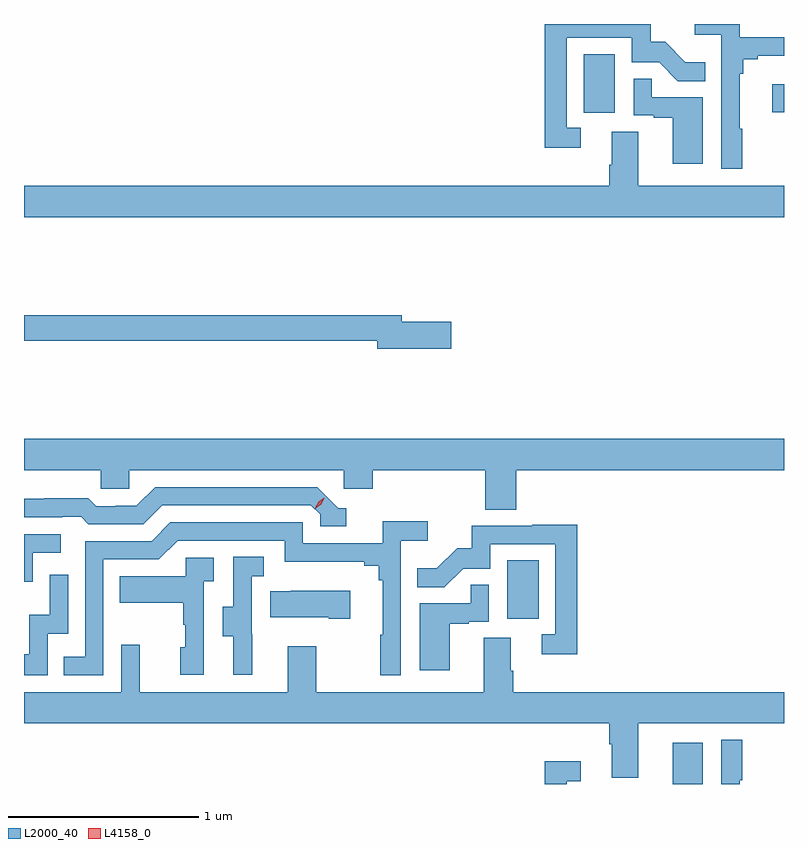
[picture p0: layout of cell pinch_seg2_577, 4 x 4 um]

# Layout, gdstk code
import gdstk
lib = gdstk.Library(unit=1e-6, precision=1e-09)
def R(c, l, rs):  # rectangles x0, y0, x1, y1
    for r in rs: c.add(gdstk.rectangle(r[:2], r[2:], *l))
def P(c, l, *ps):  # polygons
    for p in ps: c.add(gdstk.Polygon(p, *l))
L2000_40 = (2000, 40)
L4158_0 = (4158, 0)

pinch_seg2_577 = lib.new_cell('pinch_seg2_577')
R(pinch_seg2_577, L2000_40, [(1080.428,611.352,1080.586,611.569), (1079.558,612.222,1079.722,612.529), (1079.96,614.886,1080.124,615.193), (1080.951,614.887,1081.014,615.034)])
P(pinch_seg2_577, L2000_40, [(1079.944,614.805),(1079.871,614.805),(1079.871,615.279),(1080.213,615.279),(1080.213,615.15),(1080.357,615.15),(1080.455,615.052),(1080.599,615.052),(1080.599,615.151),(1080.495,615.151),(1080.388,615.258),(1080.312,615.258),(1080.312,615.352),(1079.755,615.352),(1079.755,614.7),(1079.944,614.7)],
  [(1080.793,614.801),(1080.781,614.801),(1080.781,615.089),(1080.8,615.089),(1080.8,615.166),(1080.877,615.166),(1080.877,615.185),(1081.014,615.185),(1081.014,615.282),(1080.782,615.282),(1080.782,615.352),(1080.543,615.352),(1080.543,615.296),(1080.684,615.296),(1080.684,614.589),(1080.793,614.589)],
  [(1080.586,614.967),(1080.317,614.967),(1080.317,615.065),(1080.222,615.065),(1080.222,614.871),(1080.329,614.871),(1080.329,614.859),(1080.428,614.859),(1080.428,614.616),(1080.586,614.616)],
  [(1081.014,614.5),(1080.247,614.5),(1080.247,614.786),(1080.107,614.786),(1080.107,614.612),(1080.095,614.612),(1080.095,614.5),(1077.014,614.5),(1077.014,614.336),(1081.014,614.336)],
  [(1079.263,613.784),(1079.002,613.784),(1079.002,613.82),(1077.014,613.82),(1077.014,613.684),(1078.874,613.684),(1078.874,613.642),(1079.263,613.642)],
  [(1079.606,613.004),(1081.014,613.004),(1081.014,613.168),(1077.014,613.168),(1077.014,613.004),(1077.417,613.004),(1077.417,612.906),(1077.567,612.906),(1077.567,613.004),(1078.698,613.004),(1078.698,612.906),(1078.85,612.906),(1078.85,613.004),(1079.441,613.004),(1079.441,612.796),(1079.606,612.796)],
  [(1078.711,612.804),(1078.668,612.804),(1078.557,612.915),(1077.704,612.915),(1077.605,612.816),(1077.498,612.816),(1077.498,612.813),(1077.395,612.813),(1077.353,612.856),(1077.12,612.856),(1077.12,612.853),(1077.014,612.853),(1077.014,612.756),(1077.215,612.756),(1077.215,612.759),(1077.314,612.759),(1077.353,612.72),(1077.642,612.72),(1077.741,612.819),(1078.524,612.819),(1078.572,612.771),(1078.572,612.708),(1078.711,612.708)],
  [(1077.432,612.534),(1077.723,612.534),(1077.822,612.633),(1078.386,612.633),(1078.386,612.521),(1078.805,612.521),(1078.805,612.502),(1078.882,612.502),(1078.882,612.425),(1078.901,612.425),(1078.901,612.137),(1078.89,612.137),(1078.89,611.925),(1078.998,611.925),(1078.998,612.632),(1079.14,612.632),(1079.14,612.734),(1078.901,612.734),(1078.901,612.618),(1078.482,612.618),(1078.482,612.729),(1077.785,612.729),(1077.686,612.63),(1077.336,612.63),(1077.336,612.021),(1077.223,612.021),(1077.223,611.925),(1077.432,611.925)],
  [(1079.927,612.716),(1079.689,612.716),(1079.689,612.711),(1079.371,612.711),(1079.371,612.594),(1079.294,612.594),(1079.187,612.487),(1079.083,612.487),(1079.083,612.388),(1079.227,612.388),(1079.325,612.486),(1079.469,612.486),(1079.469,612.615),(1079.811,612.615),(1079.811,612.141),(1079.739,612.141),(1079.739,612.036),(1079.927,612.036)],
  [(1077.06,612.57),(1077.208,612.57),(1077.208,612.666),(1077.014,612.666),(1077.014,612.417),(1077.06,612.417)],
  [(1078.214,612.141),(1078.212,612.141),(1078.212,612.445),(1078.276,612.445),(1078.276,612.548),(1078.116,612.548),(1078.116,612.285),(1078.061,612.285),(1078.061,612.13),(1078.115,612.13),(1078.115,611.928),(1078.214,611.928)],
  [(1077.96,612.419),(1078.012,612.419),(1078.012,612.543),(1077.864,612.543),(1077.864,612.445),(1077.517,612.445),(1077.517,612.305),(1077.852,612.305),(1077.852,612.191),(1077.862,612.191),(1077.862,612.072),(1077.836,612.072),(1077.836,611.928),(1077.96,611.928)],
  [(1077.138,612.144),(1077.246,612.144),(1077.246,612.454),(1077.15,612.454),(1077.15,612.242),(1077.041,612.242),(1077.041,612.034),(1077.014,612.034),(1077.014,611.925),(1077.138,611.925)],
  [(1079.254,612.195),(1079.354,612.195),(1079.354,612.207),(1079.46,612.207),(1079.46,612.401),(1079.365,612.401),(1079.365,612.303),(1079.096,612.303),(1079.096,611.952),(1079.254,611.952)],
  [(1078.732,612.37),(1078.417,612.37),(1078.417,612.367),(1078.309,612.367),(1078.309,612.23),(1078.619,612.23),(1078.619,612.223),(1078.732,612.223)],
  [(1080.247,611.672),(1081.014,611.672),(1081.014,611.836),(1079.588,611.836),(1079.588,611.948),(1079.575,611.948),(1079.575,612.122),(1079.435,612.122),(1079.435,611.836),(1078.551,611.836),(1078.551,612.076),(1078.403,612.076),(1078.403,611.836),(1077.623,611.836),(1077.623,612.085),(1077.525,612.085),(1077.525,611.836),(1077.014,611.836),(1077.014,611.672),(1080.095,611.672),(1080.095,611.56),(1080.107,611.56),(1080.107,611.386),(1080.247,611.386)],
  [(1080.781,611.371),(1080.793,611.371),(1080.793,611.584),(1080.684,611.584),(1080.684,611.352),(1080.781,611.352)],
  [(1079.871,611.367),(1079.944,611.367),(1079.944,611.473),(1079.755,611.473),(1079.755,611.352),(1079.871,611.352)])
P(pinch_seg2_577, L4158_0, [(1078.548,612.804),(1078.548,612.805),(1078.564,612.838),(1078.595,612.858),(1078.595,612.858),(1078.595,612.857),(1078.579,612.824),(1078.549,612.804)])

lib.write_gds('pinch_seg2_577.gds')
